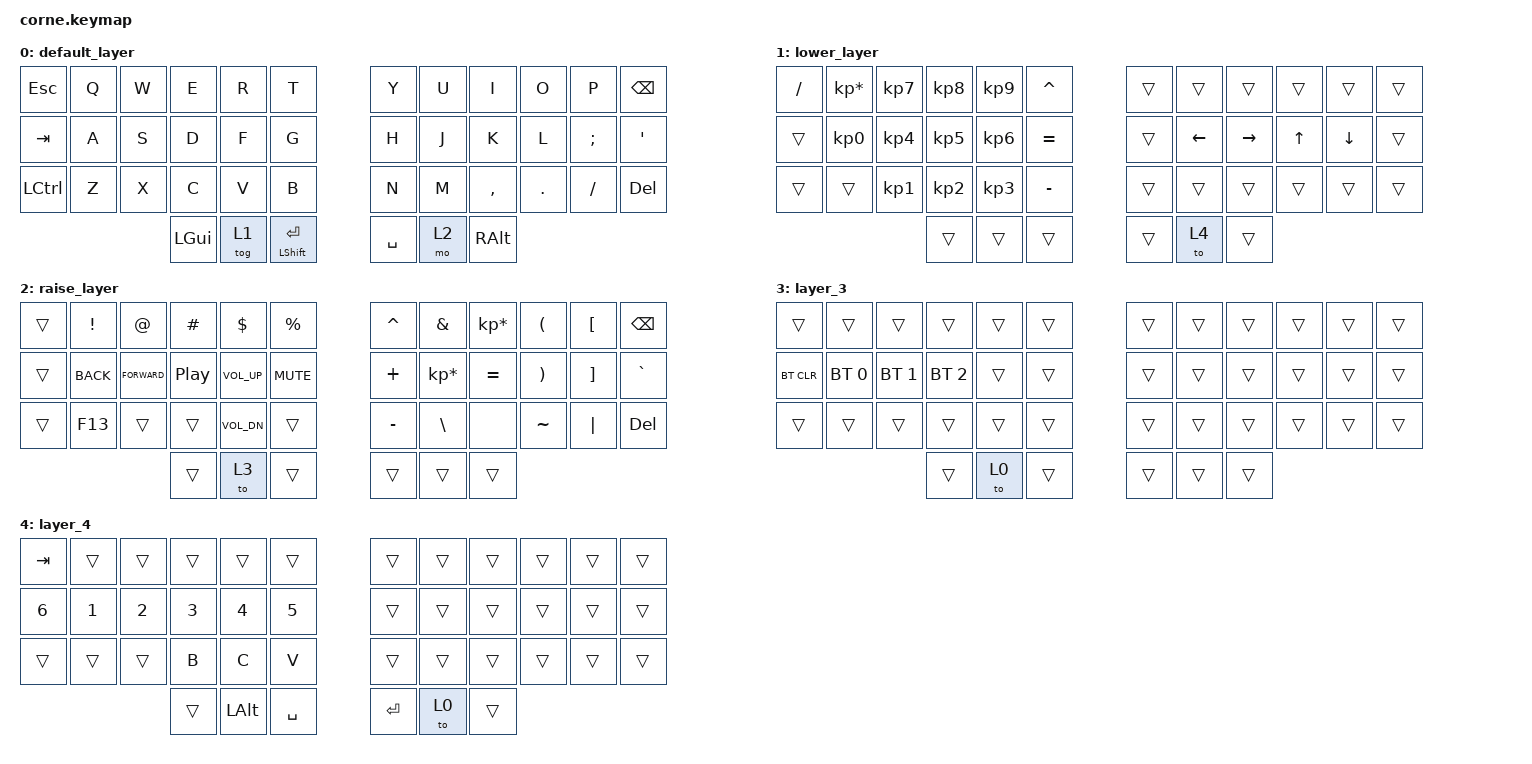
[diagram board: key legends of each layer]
/*
 * Copyright (c) 2020 The ZMK Contributors
 *
 * SPDX-License-Identifier: MIT
 */

#

#include <behaviors.dtsi>
#include <dt-bindings/zmk/bt.h>
#include <dt-bindings/zmk/keys.h>

/ {
    keymap {
        compatible = "zmk,keymap";

        default_layer {
            // -----------------------------------------------------------------------------------------
            // |  TAB |  Q  |  W  |  E  |  R  |  T  |   |  Y  |  U   |  I  |  O  |  P  | BKSP |
            // | CTRL |  A  |  S  |  D  |  F  |  G  |   |  H  |  J   |  K  |  L  |  ;  |  '   |
            // | SHFT |  Z  |  X  |  C  |  V  |  B  |   |  N  |  M   |  ,  |  .  |  /  | ESC  |
            //                    | GUI | LWR | SPC |   | ENT | RSE  | ALT |

            bindings = <
&kp ESC    &kp Q  &kp W  &kp E         &kp R   &kp T                   &kp Y      &kp U  &kp I          &kp O    &kp P     &kp BSPC
&kp TAB    &kp A  &kp S  &kp D         &kp F   &kp G                   &kp H      &kp J  &kp K          &kp L    &kp SEMI  &kp SQT
&kp LCTRL  &kp Z  &kp X  &kp C         &kp V   &kp B                   &kp N      &kp M  &kp COMMA      &kp DOT  &kp FSLH  &kp DELETE
                         &kp LEFT_GUI  &tog 1  &mt LEFT_SHIFT ENTER    &kp SPACE  &mo 2  &kp RIGHT_ALT
            >;
        };

        lower_layer {
            // -----------------------------------------------------------------------------------------
            // |  TAB |  1  |  2  |  3  |  4  |  5  |   |  6  |  7  |  8  |  9  |  0  | BKSP |
            // | BTCLR| BT1 | BT2 | BT3 | BT4 | BT5 |   | LFT | DWN |  UP | RGT |     |      |
            // | SHFT |     |     |     |     |     |   |     |     |     |     |     |      |
            //                    | GUI |     | SPC |   | ENT |     | ALT |

            bindings = <
&kp SLASH  &kp KP_MULTIPLY  &kp KP_NUMBER_7  &kp KP_NUMBER_8  &kp KP_NUMBER_9  &kp CARET    &trans  &trans          &trans           &trans        &trans          &trans
&trans     &kp KP_NUMBER_0  &kp KP_NUMBER_4  &kp KP_NUMBER_5  &kp KP_NUMBER_6  &kp EQUAL    &trans  &kp LEFT_ARROW  &kp RIGHT_ARROW  &kp UP_ARROW  &kp DOWN_ARROW  &trans
&trans     &trans           &kp KP_NUMBER_1  &kp KP_NUMBER_2  &kp KP_NUMBER_3  &kp MINUS    &trans  &trans          &trans           &trans        &trans          &trans
                                             &trans           &trans           &trans       &trans  &to 4           &trans
            >;
        };

        raise_layer {
            // -----------------------------------------------------------------------------------------
            // |  TAB |  !  |  @  |  #  |  $  |  %  |   |  ^  |  &  |  *  |  (  |  )  | BKSP |
            // | CTRL |     |     |     |     |     |   |  -  |  =  |  [  |  ]  |  \  |  `   |
            // | SHFT |     |     |     |     |     |   |  _  |  +  |  {  |  }  | "|" |  ~   |
            //                    | GUI |     | SPC |   | ENT |     | ALT |

            bindings = <
&trans  &kp EXCL    &kp AT         &kp HASH          &kp DLLR         &kp PRCNT     &kp CARET  &kp AMPS         &kp KP_MULTIPLY  &kp LPAR               &kp LEFT_BRACKET   &kp BACKSPACE
&trans  &kp K_BACK  &kp K_FORWARD  &kp C_PLAY_PAUSE  &kp C_VOLUME_UP  &kp K_MUTE    &kp PLUS   &kp KP_MULTIPLY  &kp EQUAL        &kp RIGHT_PARENTHESIS  &kp RIGHT_BRACKET  &kp GRAVE
&trans  &kp F13     &trans         &trans            &kp C_VOL_DN     &trans        &kp MINUS  &kp BACKSLASH    &none            &kp TILDE              &kp PIPE           &kp DELETE
                                   &trans            &to 3            &trans        &trans     &trans           &trans
            >;
        };

        layer_3 {
            bindings = <
&trans      &trans        &trans        &trans        &trans  &trans    &trans  &trans  &trans  &trans  &trans  &trans
&bt BT_CLR  &bt BT_SEL 0  &bt BT_SEL 1  &bt BT_SEL 2  &trans  &trans    &trans  &trans  &trans  &trans  &trans  &trans
&trans      &trans        &trans        &trans        &trans  &trans    &trans  &trans  &trans  &trans  &trans  &trans
                                        &trans        &to 0   &trans    &trans  &trans  &trans
            >;
        };

        layer_4 {
            bindings = <
&kp TAB       &trans        &trans        &trans        &trans        &trans          &trans     &trans  &trans  &trans  &trans  &trans
&kp NUMBER_6  &kp NUMBER_1  &kp NUMBER_2  &kp NUMBER_3  &kp NUMBER_4  &kp NUMBER_5    &trans     &trans  &trans  &trans  &trans  &trans
&trans        &trans        &trans        &kp B         &kp C         &kp V           &trans     &trans  &trans  &trans  &trans  &trans
                                          &trans        &kp LEFT_ALT  &kp SPACE       &kp ENTER  &to 0   &trans
            >;
        };
    };
};
